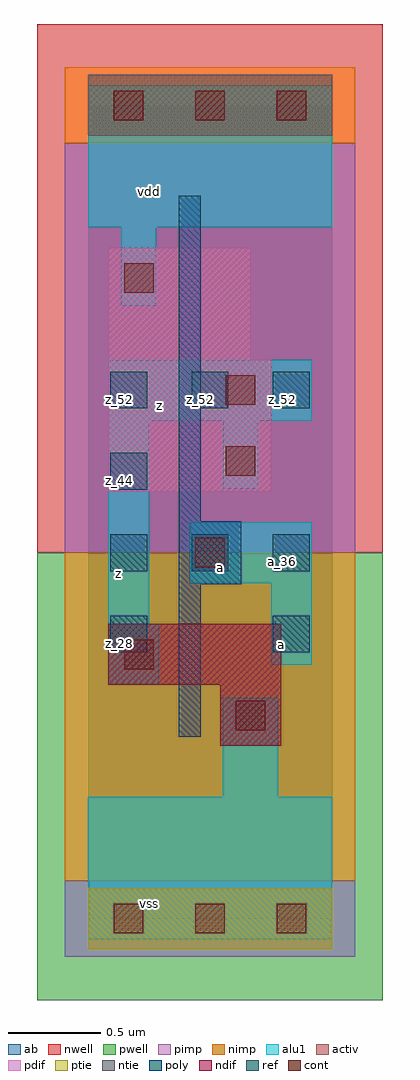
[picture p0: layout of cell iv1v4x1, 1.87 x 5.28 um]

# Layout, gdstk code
import gdstk
lib = gdstk.Library(unit=1e-6, precision=2.5e-09)
def R(c, l, rs):  # rectangles x0, y0, x1, y1
    for r in rs: c.add(gdstk.rectangle(r[:2], r[2:], *l))
def A(c, l, x, y, w, h, nx, ny, dx, dy):  # array of equal rectangles
    R(c, l, [(x+i*dx, y+j*dy, x+i*dx+w, y+j*dy+h) for i in range(nx) for j in range(ny)])
ndif = (3, 0)
pdif = (4, 0)
ntie = (5, 0)
ptie = (6, 0)
ref = (24, 0)
cont = (25, 0)
pwell = (41, 0)
nwell = (42, 0)
activ = (43, 0)
pimp = (44, 0)
nimp = (45, 0)
poly = (46, 0)
alu1 = (49, 0)
ab = (63, 0)

iv1v4x1 = lib.new_cell('iv1v4x1')
R(iv1v4x1, ndif, [(0.715,0.935,1.045,1.265), (0.11,1.265,1.045,1.595)])
R(iv1v4x1, pdif, [(0.11,2.31,0.99,3.025), (0.11,3.025,0.88,3.63)])
R(iv1v4x1, ntie, [(0,4.235,1.32,4.565)])
R(iv1v4x1, ptie, [(0,-0.165,1.32,0.165)])
A(iv1v4x1, ref, 0.12, 1.88, 0.2, 0.2, 3, 2, 0.44, 0.88)
R(iv1v4x1, ref, [(0.12,1.44,0.32,1.64), (1,1.44,1.2,1.64), (0.12,2.32,0.32,2.52)])
A(iv1v4x1, cont, 0.14, -0.08, 0.16, 0.16, 3, 2, 0.44, 4.4)
R(iv1v4x1, cont, [(0.8,1.02,0.96,1.18), (0.195,1.35,0.355,1.51), (0.58,1.9,0.74,2.06), (0.745,2.395,0.905,2.555), (0.745,2.78,0.905,2.94), (0.195,3.385,0.355,3.545)])
R(iv1v4x1, pwell, [(-0.275,-0.44,1.595,1.98)])
R(iv1v4x1, nwell, [(-0.275,1.98,1.595,4.84)])
R(iv1v4x1, activ, [(0,-0.165,1.32,0.165), (0.715,0.935,1.045,1.265), (0.11,1.265,1.045,1.595), (0.11,2.31,0.99,3.025), (0.11,3.025,0.88,3.63), (0,4.235,1.32,4.565)])
R(iv1v4x1, pimp, [(-0.125,-0.205,1.445,0.205), (-0.125,1.98,1.445,4.195)])
R(iv1v4x1, nimp, [(-0.125,0.205,1.445,1.98), (-0.125,4.195,1.445,4.605)])
R(iv1v4x1, poly, [(0.49,0.985,0.61,1.81), (0.49,1.81,0.83,2.15), (0.49,2.15,0.61,3.91)])
R(iv1v4x1, alu1, [(0,-0.11,1.32,0.66), (0.73,0.66,1.03,1.195), (0.11,1.265,0.385,1.595), (0.99,1.375,1.21,1.815), (0.11,1.595,0.33,2.695), (0.55,1.815,1.21,2.145), (0.73,2.325,0.92,2.695), (0.11,2.695,1.21,3.025), (0.18,3.315,0.37,3.74), (0,3.74,1.32,4.51)])
R(iv1v4x1, ab, [(0,0,1.32,4.4)])
iv1v4x1.add(gdstk.Label('vss', (0.33,0.0825), layer=49, texttype=0))
iv1v4x1.add(gdstk.Label('a', (1.045,1.485), layer=49, texttype=0))
iv1v4x1.add(gdstk.Label('a', (0.715,1.8975), layer=49, texttype=0))
iv1v4x1.add(gdstk.Label('z', (0.165,1.87), layer=49, texttype=0))
iv1v4x1.add(gdstk.Label('z', (0.385,2.7775), layer=49, texttype=0))
iv1v4x1.add(gdstk.Label('vdd', (0.33,3.9325), layer=49, texttype=0))
iv1v4x1.add(gdstk.Label('a_36', (0.61,1.93), layer=24, texttype=0))
iv1v4x1.add(gdstk.Label('z_52', (0.61,2.81), layer=24, texttype=0))
iv1v4x1.add(gdstk.Label('a_28', (1.05,1.49), layer=24, texttype=0))
iv1v4x1.add(gdstk.Label('a_36', (1.05,1.93), layer=24, texttype=0))
iv1v4x1.add(gdstk.Label('z_52', (1.05,2.81), layer=24, texttype=0))
iv1v4x1.add(gdstk.Label('z_28', (0.17,1.49), layer=24, texttype=0))
iv1v4x1.add(gdstk.Label('z_36', (0.17,1.93), layer=24, texttype=0))
iv1v4x1.add(gdstk.Label('z_44', (0.17,2.37), layer=24, texttype=0))
iv1v4x1.add(gdstk.Label('z_52', (0.17,2.81), layer=24, texttype=0))

lib.write_gds('iv1v4x1.gds')
